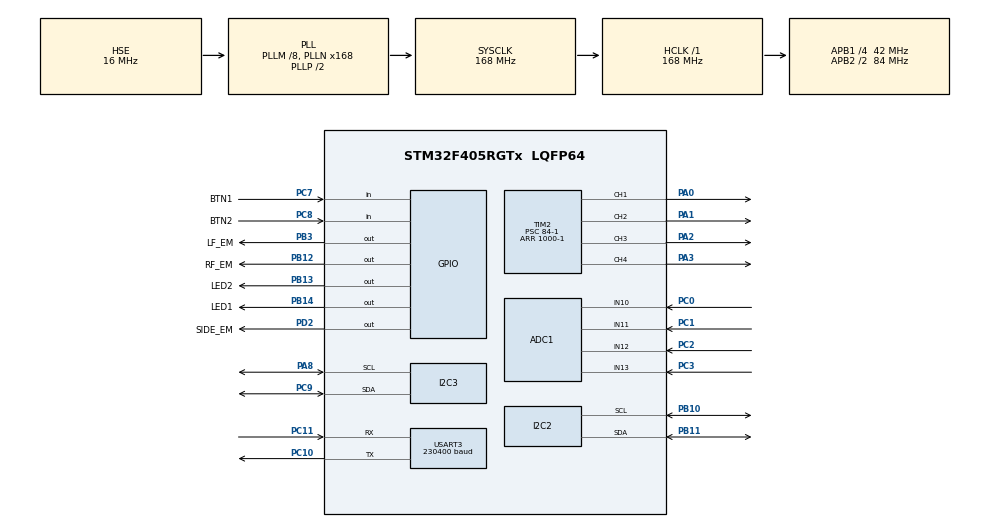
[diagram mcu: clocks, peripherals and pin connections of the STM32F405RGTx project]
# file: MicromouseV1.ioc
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ADC1.Channel-0\#ChannelRegularConversion=ADC_CHANNEL_10
ADC1.Channel-1\#ChannelRegularConversion=ADC_CHANNEL_11
ADC1.Channel-2\#ChannelRegularConversion=ADC_CHANNEL_12
ADC1.Channel-3\#ChannelRegularConversion=ADC_CHANNEL_13
ADC1.ContinuousConvMode=ENABLE
ADC1.DMAContinuousRequests=ENABLE
ADC1.NbrOfConversion=4
ADC1.NbrOfConversionFlag=1
ADC1.Rank-0\#ChannelRegularConversion=1
ADC1.Rank-1\#ChannelRegularConversion=2
ADC1.Rank-2\#ChannelRegularConversion=3
ADC1.Rank-3\#ChannelRegularConversion=4
ADC1.SamplingTime-0\#ChannelRegularConversion=ADC_SAMPLETIME_84CYCLES
ADC1.SamplingTime-1\#ChannelRegularConversion=ADC_SAMPLETIME_84CYCLES
ADC1.SamplingTime-2\#ChannelRegularConversion=ADC_SAMPLETIME_84CYCLES
ADC1.SamplingTime-3\#ChannelRegularConversion=ADC_SAMPLETIME_84CYCLES
ADC1.master=1
Dma.ADC1.0.Direction=DMA_PERIPH_TO_MEMORY
Dma.ADC1.0.FIFOMode=DMA_FIFOMODE_DISABLE
Dma.ADC1.0.Instance=DMA2_Stream0
Dma.ADC1.0.MemDataAlignment=DMA_MDATAALIGN_HALFWORD
Dma.ADC1.0.MemInc=DMA_MINC_ENABLE
Dma.ADC1.0.Mode=DMA_CIRCULAR
Dma.ADC1.0.PeriphDataAlignment=DMA_PDATAALIGN_HALFWORD
Dma.ADC1.0.PeriphInc=DMA_PINC_DISABLE
Dma.ADC1.0.Priority=DMA_PRIORITY_MEDIUM
Dma.Request0=ADC1
I2C2.I2C_Mode=I2C_Fast
I2C3.I2C_Mode=I2C_Fast
Mcu.Family=STM32F4
Mcu.Name=STM32F405RGTx
Mcu.Package=LQFP64
NVIC.DMA2_Stream0_IRQn=true\:0\:0\:false\:false\:true\:false\:true\:true
NVIC.I2C2_ER_IRQn=true\:0\:0\:false\:false\:true\:true\:true\:true
NVIC.I2C2_EV_IRQn=true\:0\:0\:false\:false\:true\:true\:true\:true
NVIC.I2C3_ER_IRQn=true\:0\:0\:false\:false\:true\:true\:true\:true
NVIC.I2C3_EV_IRQn=true\:0\:0\:false\:false\:true\:true\:true\:true
NVIC.PriorityGroup=NVIC_PRIORITYGROUP_4
NVIC.TIM3_IRQn=true\:0\:0\:false\:false\:true\:true\:true\:true
PA0-WKUP.Signal=S_TIM2_CH1_ETR
PA1.Signal=S_TIM2_CH2
PA13.Mode=Serial_Wire
PA13.Signal=SYS_JTMS-SWDIO
PA14.Mode=Serial_Wire
PA14.Signal=SYS_JTCK-SWCLK
PA2.Signal=S_TIM2_CH3
PA3.Signal=S_TIM2_CH4
PA8.Mode=I2C
PA8.Signal=I2C3_SCL
PB10.Mode=I2C
PB10.Signal=I2C2_SCL
PB11.Mode=I2C
PB11.Signal=I2C2_SDA
PB12.GPIO_Label=RF_EM
PB12.Signal=GPIO_Output
PB13.GPIO_Label=LED2
PB13.Signal=GPIO_Output
PB14.GPIO_Label=LED1
PB14.Signal=GPIO_Output
PB3.GPIO_Label=LF_EM
PB3.Signal=GPIO_Output
PC0.Signal=ADCx_IN10
PC1.Signal=ADCx_IN11
PC10.Mode=Asynchronous
PC10.Signal=USART3_TX
PC11.Mode=Asynchronous
PC11.Signal=USART3_RX
PC2.Signal=ADCx_IN12
PC3.Signal=ADCx_IN13
PC7.GPIO_Label=BTN1
PC7.GPIO_PuPd=GPIO_PULLDOWN
PC7.Signal=GPIO_Input
PC8.GPIO_Label=BTN2
PC8.GPIO_PuPd=GPIO_PULLDOWN
PC8.Signal=GPIO_Input
PC9.Mode=I2C
PC9.Signal=I2C3_SDA
PD2.GPIO_Label=SIDE_EM
PD2.Signal=GPIO_Output
PH0-OSC_IN.Mode=HSE-External-Oscillator
PH0-OSC_IN.Signal=RCC_OSC_IN
PH1-OSC_OUT.Mode=HSE-External-Oscillator
PH1-OSC_OUT.Signal=RCC_OSC_OUT
ProjectManager.HeapSize=0x200
ProjectManager.StackSize=0x400
ProjectManager.TargetToolchain=STM32CubeIDE
RCC.48MHZClocksFreq_Value=84000000
RCC.AHBFreq_Value=168000000
RCC.APB1CLKDivider=RCC_HCLK_DIV4
RCC.APB1Freq_Value=42000000
RCC.APB1TimFreq_Value=84000000
RCC.APB2CLKDivider=RCC_HCLK_DIV2
RCC.APB2Freq_Value=84000000
RCC.APB2TimFreq_Value=168000000
RCC.CortexFreq_Value=168000000
RCC.HCLKFreq_Value=168000000
RCC.HSE_VALUE=16000000
RCC.HSI_VALUE=16000000
RCC.LSE_VALUE=32768
RCC.PLLM=8
RCC.PLLN=168
RCC.PLLSourceVirtual=RCC_PLLSOURCE_HSE
RCC.SYSCLKFreq_VALUE=168000000
RCC.SYSCLKSource=RCC_SYSCLKSOURCE_PLLCLK
RCC.VCOOutputFreq_Value=336000000
SH.ADCx_IN10.0=ADC1_IN10,IN10
SH.ADCx_IN11.0=ADC1_IN11,IN11
SH.ADCx_IN12.0=ADC1_IN12,IN12
SH.ADCx_IN13.0=ADC1_IN13,IN13
SH.S_TIM2_CH1_ETR.0=TIM2_CH1,PWM Generation1 CH1
SH.S_TIM2_CH2.0=TIM2_CH2,PWM Generation2 CH2
SH.S_TIM2_CH3.0=TIM2_CH3,PWM Generation3 CH3
SH.S_TIM2_CH4.0=TIM2_CH4,PWM Generation4 CH4
TIM2.Channel-PWM\ Generation1\ CH1=TIM_CHANNEL_1
TIM2.Channel-PWM\ Generation2\ CH2=TIM_CHANNEL_2
TIM2.Channel-PWM\ Generation3\ CH3=TIM_CHANNEL_3
TIM2.Channel-PWM\ Generation4\ CH4=TIM_CHANNEL_4
TIM2.Period=1000-1
TIM2.Prescaler=84-1
TIM3.Period=1000-1
TIM3.Prescaler=84-1
USART3.BaudRate=230400
USART3.VirtualMode=VM_ASYNC
VP_TIM3_VS_ClockSourceINT.Mode=Internal
board=custom

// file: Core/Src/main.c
/* USER CODE BEGIN Header */
/**
 ******************************************************************************
 * @file           : main.c
 * @brief          : Main program body
 ******************************************************************************
 * @attention
 *
 * Copyright (c) 2026 STMicroelectronics.
 * All rights reserved.
 *
 * This software is licensed under terms that can be found in the LICENSE file
 * in the root directory of this software component.
 * If no LICENSE file comes with this software, it is provided AS-IS.
 *
 ******************************************************************************
 */
/* USER CODE END Header */
#include "main.h"

ADC_HandleTypeDef hadc1;
DMA_HandleTypeDef hdma_adc1;

I2C_HandleTypeDef hi2c2;
I2C_HandleTypeDef hi2c3;

TIM_HandleTypeDef htim2;
TIM_HandleTypeDef htim3;

UART_HandleTypeDef huart3;

/* USER CODE BEGIN PV */
int32_t posLeft[7001];
int32_t posRight[7001];

/* USER CODE END PV */

void SystemClock_Config(void);
static void MX_GPIO_Init(void);
static void MX_DMA_Init(void);
static void MX_ADC1_Init(void);
static void MX_I2C2_Init(void);
static void MX_I2C3_Init(void);
static void MX_TIM2_Init(void);
static void MX_TIM3_Init(void);
static void MX_USART3_UART_Init(void);

/* USER CODE BEGIN 0 */
void searchRun() {
	uint8_t action = solver();
	wall_R_Check2 = 0;
	wall_L_Check2 = 0;
	if (action == FORWARD) {
		delay_ms(50);
		resetEverything();
		distanceLeft = oneCellDistance * 2;
		move_one_cell(&hadc1, &hi2c2, &hi2c3);
	} else if (action == RIGHT) {
		if ((LFSensor < LFThreshold2) || (RFSensor < RFThreshold2))
			wall_L_Check2 = 0;
		wall_R_Check2 = 0;

		if ((LFSensor > LFThreshold2) && (RFSensor > RFThreshold2)) {
			wall_L_Check2 = 1;
			delay_ms(10);
			wall_front_adjust(&hadc1);
		}
		delay_ms(150);
		if (turnRightFlag)
			delay_ms(100);
		resetEverything();
		distanceLeft = turnDistance;
		turn_90right(&hi2c2, &hi2c3);
	} else if (action == LEFT) {
		wall_L_Check2 = 0;
		if ((LFSensor < LFThreshold2) || (RFSensor < RFThreshold2))
			wall_R_Check2 = 0;
		if ((LFSensor > LFThreshold2) && (RFSensor > RFThreshold2)) {
			wall_R_Check2 = 1;
			delay_ms(10);
			wall_front_adjust(&hadc1);
		}
		delay_ms(150);
		if (turnLeftFlag)
			delay_ms(100);
		resetEverything();
		distanceLeft = turnDistance;
		turn_90left(&hi2c2, &hi2c3);
	}

	set_mleft(0);
	set_mright(0);
}

void testRunStraigth() {
	while (!BTN1()) {
		if (BTN2()) {
			BTN2_Flag = 1;
			R_LED_ON
			;
		}
		L_LED_ON
		;
	}
	blink_led_wait();
	distanceLeft = oneCellDistance * 4 * 2;
	for (int i = 0; i < 4; i++) {
		move_one_cell(&hadc1, &hi2c2, &hi2c3);
	}
	set_mleft(0);
	set_mright(0);
}
void run() {
	mode = SEARCH;
	while (!BTN1()) {
		if (BTN2()) {
			BTN2_Flag = 1;
			R_LED_ON
			;
		}
		L_LED_ON
		;
	}
//	oneCellDistance = 32370;
	decX = mm_to_counts(900);
	blink_led_wait();
	start(&hadc1);
	L_LED_ON
	;
	delay_ms(1200);
	L_LED_OFF
	;
	readyFlag = 1;
	L_LED_ON
	;

	while (readyFlag > 0 && !BTN2_Flag) {
		searchRun();
	}
	BTN2_Flag = 0;
	L_LED_OFF
	;
	R_LED_OFF
	;
	set_mleft(0);
	set_mright(0);

	while (!BTN1()) {
		if (BTN2()) {
			BTN2_Flag = 1;
			R_LED_ON
			;
		}
		L_LED_ON
		;
	}
	blink_led_wait();
	R_LED_OFF
	;
	heading = NORTH;
	mode = SPEED;
	updateDistances();
	buildPath();
	uint16_t pathNow = 0;
	uint16_t oldPath = 0;
	position.x = 0;
	position.y = 0;
//	oneCellDistance = 32100;

	//	distanceLeft = 5395;
	//	move_one_cell(&hadc1, &hi2c2, &hi2c3);
	resetEverything();
	while (pathNow < pathLength && !BTN2_Flag) {
		if (path[pathNow] == FORWARD) {
			oldPath = pathNow;
			resetEverything();
			while (path[pathNow] == FORWARD) {
				pathNow++;
			}
			distanceLeft = oneCellDistance * (pathNow - oldPath) * 2;
//			if (distanceLeft > oneCellDistance * 4) {
//				decX = mm_to_counts(350);
//			} else
//				decX = mm_to_counts(600);
			for (int i = oldPath; i < pathNow; i++)
				move_one_cell(&hadc1, &hi2c2, &hi2c3);
			set_mleft(0);
			set_mright(0);
		} else if (path[pathNow] == RIGHT) {
			if ((LFSensor > LFThreshold2) && (RFSensor > RFThreshold2)) {
				delay_ms(50);
				wall_front_adjust(&hadc1);
			}
			delay_ms(150);
			if (turnRightFlag)
				delay_ms(100);
			resetEverything();
			distanceLeft = turnDistance;
			turn_90right(&hi2c2, &hi2c3);
			pathNow++;
		} else if (path[pathNow] == LEFT) {
			if ((LFSensor > LFThreshold2) && (RFSensor > RFThreshold2)) {
				wall_R_Check2 = 1;
				delay_ms(50);
				wall_front_adjust(&hadc1);
			}
			delay_ms(150);
			if (turnLeftFlag)
				delay_ms(100);
			resetEverything();
			distanceLeft = turnDistance;
			turn_90left(&hi2c2, &hi2c3);
			pathNow++;
		}
	}
	BTN2_Flag = 0;
}

int _write(int fd, char *ptr, int len) {
	HAL_StatusTypeDef hstatus;

	if (fd == 1 || fd == 2) {
		hstatus = HAL_UART_Transmit(&huart3, (uint8_t*) ptr, len,
		HAL_MAX_DELAY);
		if (hstatus == HAL_OK)
			return len;
		else
			return -1;
	}
	return -1;
}
void init(void) {
	L_LED_OFF
	;
	R_LED_OFF
	;
	HAL_TIM_Base_Start_IT(&htim3);
	HAL_TIM_PWM_Start(&htim2, TIM_CHANNEL_1);
	HAL_TIM_PWM_Start(&htim2, TIM_CHANNEL_2);
	HAL_TIM_PWM_Start(&htim2, TIM_CHANNEL_3);
	HAL_TIM_PWM_Start(&htim2, TIM_CHANNEL_4);
	init_sensor(&hadc1);
	initController();
	init_encoder(&hi2c2, &hi2c3);
	initialize();
}

void take_data() {
	controlFlag = 1;
	int pwm = 250;
	tick = 0;
	for (int i = 0; i < 3; i++) {
		set_mleft(0);
		set_mright(0);
		delay_ms(1000);
		set_mright(pwm);
		set_mleft(pwm);
		delay_ms(1000);
		pwm += 50;
	}
	controlFlag = 0;
	pwm = 0;
	int stand = 0;
	for(int i = 0; i < 6000; i ++)
	{
		if (i - stand <= 1000)
			printf("%d   %ld   %ld   %d\n ", i + 1, posLeft[i], posRight[i], 0);
		else if (i - stand <= 2000) {
			printf("%d   %ld   %ld   %d\n ", i + 1, posLeft[i], posRight[i], pwm);
			if (i - stand == 2000)
				pwm += 100;
		}

		delay_ms(1);
//		printf("Hello\n");
	}
}

/* USER CODE END 0 */

int main(void) {

	/* MCU Configuration--------------------------------------------------------*/

	/* Reset of all peripherals, Initializes the Flash interface and the Systick. */
	HAL_Init();

	/* Configure the system clock */
	SystemClock_Config();

	/* Initialize all configured peripherals */
	MX_GPIO_Init();
	MX_DMA_Init();
	MX_ADC1_Init();
	MX_I2C2_Init();
	MX_I2C3_Init();
	MX_TIM2_Init();
	MX_TIM3_Init();
	MX_USART3_UART_Init();
	/* USER CODE BEGIN 2 */
	resetEverything();
	init();
	L_LED_ON;
//	start(&hadc1);
//	blink_led_wait();
//	stopSpeedX = mm_to_counts(400);
//	distanceLeft = oneCellDistance * 2 * 1;
//	move_one_cell(&hadc1, &hi2c2, &hi2c3);
////	move_one_cell(&hadc1, &hi2c2, &hi2c3);
////	move_one_cell(&hadc1, &hi2c2, &hi2c3);
////	move_one_cell(&hadc1, &hi2c2, &hi2c3);
//	L_LED_OFF;
//	turn_right(&hi2c2, &hi2c3);
//	stopSpeedX = 0;
////	distanceLeft = oneCellDistance * 2 * 1;
////	move_one_cell(&hadc1, &hi2c2, &hi2c3);
//	turn_left(&hi2c2, &hi2c3);
//	turn_right(&hi2c2, &hi2c3);
//	turn_right(&hi2c2, &hi2c3);
//	turn_left(&hi2c2, &hi2c3);
//	distanceLeft = oneCellDistance * 2 * 1;
//	move_one_cell(&hadc1, &hi2c2, &hi2c3);
//	turn_right(&hi2c2, &hi2c3);
//	distanceLeft = oneCellDistance * 2 * 1;
//	move_one_cell(&hadc1, &hi2c2, &hi2c3);
//	turn_right(&hi2c2, &hi2c3);
	set_mleft(0);
	set_mright(0);
//	for(int i = 0; i < tick; i++)
//		printf("%lf   %lf  \n", debug1[i], debug2[i]);
//	blink_led_wait();
	/* USER CODE END 2 */

	/* Infinite loop */
	/* USER CODE BEGIN WHILE */

	while (1) {
//		run();
//		printf("%lf   %lf  \n", LFSensor, RFSensor);
//		delay_ms(10);

		/* USER CODE END WHILE */

	}
}

void SystemClock_Config(void) {
	RCC_OscInitTypeDef RCC_OscInitStruct = { 0 };
	RCC_ClkInitTypeDef RCC_ClkInitStruct = { 0 };

	/** Configure the main internal regulator output voltage
	 */
	__HAL_RCC_PWR_CLK_ENABLE();
	__HAL_PWR_VOLTAGESCALING_CONFIG(PWR_REGULATOR_VOLTAGE_SCALE1);

	/** Initializes the RCC Oscillators according to the specified parameters
	 * in the RCC_OscInitTypeDef structure.
	 */
	RCC_OscInitStruct.OscillatorType = RCC_OSCILLATORTYPE_HSE;
	RCC_OscInitStruct.HSEState = RCC_HSE_ON;
	RCC_OscInitStruct.PLL.PLLState = RCC_PLL_ON;
	RCC_OscInitStruct.PLL.PLLSource = RCC_PLLSOURCE_HSE;
	RCC_OscInitStruct.PLL.PLLM = 8;
	RCC_OscInitStruct.PLL.PLLN = 168;
	RCC_OscInitStruct.PLL.PLLP = RCC_PLLP_DIV2;
	RCC_OscInitStruct.PLL.PLLQ = 4;
	if (HAL_RCC_OscConfig(&RCC_OscInitStruct) != HAL_OK) {
		Error_Handler();
	}

	/** Initializes the CPU, AHB and APB buses clocks
	 */
	RCC_ClkInitStruct.ClockType = RCC_CLOCKTYPE_HCLK | RCC_CLOCKTYPE_SYSCLK
			| RCC_CLOCKTYPE_PCLK1 | RCC_CLOCKTYPE_PCLK2;
	RCC_ClkInitStruct.SYSCLKSource = RCC_SYSCLKSOURCE_PLLCLK;
	RCC_ClkInitStruct.AHBCLKDivider = RCC_SYSCLK_DIV1;
	RCC_ClkInitStruct.APB1CLKDivider = RCC_HCLK_DIV4;
	RCC_ClkInitStruct.APB2CLKDivider = RCC_HCLK_DIV2;

	if (HAL_RCC_ClockConfig(&RCC_ClkInitStruct, FLASH_LATENCY_5) != HAL_OK) {
		Error_Handler();
	}
}

static void MX_ADC1_Init(void) {

	ADC_ChannelConfTypeDef sConfig = { 0 };

	/** Configure the global features of the ADC (Clock, Resolution, Data Alignment and number of conversion)
	 */
	hadc1.Instance = ADC1;
	hadc1.Init.ClockPrescaler = ADC_CLOCK_SYNC_PCLK_DIV4;
	hadc1.Init.Resolution = ADC_RESOLUTION_12B;
	hadc1.Init.ScanConvMode = ENABLE;
	hadc1.Init.ContinuousConvMode = ENABLE;
	hadc1.Init.DiscontinuousConvMode = DISABLE;
	hadc1.Init.ExternalTrigConvEdge = ADC_EXTERNALTRIGCONVEDGE_NONE;
	hadc1.Init.ExternalTrigConv = ADC_SOFTWARE_START;
	hadc1.Init.DataAlign = ADC_DATAALIGN_RIGHT;
	hadc1.Init.NbrOfConversion = 4;
	hadc1.Init.DMAContinuousRequests = ENABLE;
	hadc1.Init.EOCSelection = ADC_EOC_SINGLE_CONV;
	if (HAL_ADC_Init(&hadc1) != HAL_OK) {
		Error_Handler();
	}

	/** Configure for the selected ADC regular channel its corresponding rank in the sequencer and its sample time.
	 */
	sConfig.Channel = ADC_CHANNEL_10;
	sConfig.Rank = 1;
	sConfig.SamplingTime = ADC_SAMPLETIME_84CYCLES;
	if (HAL_ADC_ConfigChannel(&hadc1, &sConfig) != HAL_OK) {
		Error_Handler();
	}

	/** Configure for the selected ADC regular channel its corresponding rank in the sequencer and its sample time.
	 */
	sConfig.Channel = ADC_CHANNEL_11;
	sConfig.Rank = 2;
	if (HAL_ADC_ConfigChannel(&hadc1, &sConfig) != HAL_OK) {
		Error_Handler();
	}

	/** Configure for the selected ADC regular channel its corresponding rank in the sequencer and its sample time.
	 */
	sConfig.Channel = ADC_CHANNEL_12;
	sConfig.Rank = 3;
	if (HAL_ADC_ConfigChannel(&hadc1, &sConfig) != HAL_OK) {
		Error_Handler();
	}

	/** Configure for the selected ADC regular channel its corresponding rank in the sequencer and its sample time.
	 */
	sConfig.Channel = ADC_CHANNEL_13;
	sConfig.Rank = 4;
	if (HAL_ADC_ConfigChannel(&hadc1, &sConfig) != HAL_OK) {
		Error_Handler();
	}

}

static void MX_I2C2_Init(void) {

	hi2c2.Instance = I2C2;
	hi2c2.Init.ClockSpeed = 400000;
	hi2c2.Init.DutyCycle = I2C_DUTYCYCLE_2;
	hi2c2.Init.OwnAddress1 = 0;
	hi2c2.Init.AddressingMode = I2C_ADDRESSINGMODE_7BIT;
	hi2c2.Init.DualAddressMode = I2C_DUALADDRESS_DISABLE;
	hi2c2.Init.OwnAddress2 = 0;
	hi2c2.Init.GeneralCallMode = I2C_GENERALCALL_DISABLE;
	hi2c2.Init.NoStretchMode = I2C_NOSTRETCH_DISABLE;
	if (HAL_I2C_Init(&hi2c2) != HAL_OK) {
		Error_Handler();
	}

}

static void MX_I2C3_Init(void) {

	hi2c3.Instance = I2C3;
	hi2c3.Init.ClockSpeed = 400000;
	hi2c3.Init.DutyCycle = I2C_DUTYCYCLE_2;
	hi2c3.Init.OwnAddress1 = 0;
	hi2c3.Init.AddressingMode = I2C_ADDRESSINGMODE_7BIT;
	hi2c3.Init.DualAddressMode = I2C_DUALADDRESS_DISABLE;
	hi2c3.Init.OwnAddress2 = 0;
	hi2c3.Init.GeneralCallMode = I2C_GENERALCALL_DISABLE;
	hi2c3.Init.NoStretchMode = I2C_NOSTRETCH_DISABLE;
	if (HAL_I2C_Init(&hi2c3) != HAL_OK) {
		Error_Handler();
	}

}

static void MX_TIM2_Init(void) {

	TIM_MasterConfigTypeDef sMasterConfig = { 0 };
	TIM_OC_InitTypeDef sConfigOC = { 0 };

	htim2.Instance = TIM2;
	htim2.Init.Prescaler = 84 - 1;
	htim2.Init.CounterMode = TIM_COUNTERMODE_UP;
	htim2.Init.Period = 1000 - 1;
	htim2.Init.ClockDivision = TIM_CLOCKDIVISION_DIV1;
	htim2.Init.AutoReloadPreload = TIM_AUTORELOAD_PRELOAD_DISABLE;
	if (HAL_TIM_PWM_Init(&htim2) != HAL_OK) {
		Error_Handler();
	}
	sMasterConfig.MasterOutputTrigger = TIM_TRGO_RESET;
	sMasterConfig.MasterSlaveMode = TIM_MASTERSLAVEMODE_DISABLE;
	if (HAL_TIMEx_MasterConfigSynchronization(&htim2, &sMasterConfig)
			!= HAL_OK) {
		Error_Handler();
	}
	sConfigOC.OCMode = TIM_OCMODE_PWM1;
	sConfigOC.Pulse = 0;
	sConfigOC.OCPolarity = TIM_OCPOLARITY_HIGH;
	sConfigOC.OCFastMode = TIM_OCFAST_DISABLE;
	if (HAL_TIM_PWM_ConfigChannel(&htim2, &sConfigOC, TIM_CHANNEL_1)
			!= HAL_OK) {
		Error_Handler();
	}
	if (HAL_TIM_PWM_ConfigChannel(&htim2, &sConfigOC, TIM_CHANNEL_2)
			!= HAL_OK) {
		Error_Handler();
	}
	if (HAL_TIM_PWM_ConfigChannel(&htim2, &sConfigOC, TIM_CHANNEL_3)
			!= HAL_OK) {
		Error_Handler();
	}
	if (HAL_TIM_PWM_ConfigChannel(&htim2, &sConfigOC, TIM_CHANNEL_4)
			!= HAL_OK) {
		Error_Handler();
	}
	HAL_TIM_MspPostInit(&htim2);

}

static void MX_TIM3_Init(void) {

	TIM_ClockConfigTypeDef sClockSourceConfig = { 0 };
	TIM_MasterConfigTypeDef sMasterConfig = { 0 };

	htim3.Instance = TIM3;
	htim3.Init.Prescaler = 84 - 1;
	htim3.Init.CounterMode = TIM_COUNTERMODE_UP;
	htim3.Init.Period = 1000 - 1;
	htim3.Init.ClockDivision = TIM_CLOCKDIVISION_DIV1;
	htim3.Init.AutoReloadPreload = TIM_AUTORELOAD_PRELOAD_DISABLE;
	if (HAL_TIM_Base_Init(&htim3) != HAL_OK) {
		Error_Handler();
	}
	sClockSourceConfig.ClockSource = TIM_CLOCKSOURCE_INTERNAL;
	if (HAL_TIM_ConfigClockSource(&htim3, &sClockSourceConfig) != HAL_OK) {
		Error_Handler();
	}
	sMasterConfig.MasterOutputTrigger = TIM_TRGO_RESET;
	sMasterConfig.MasterSlaveMode = TIM_MASTERSLAVEMODE_DISABLE;
	if (HAL_TIMEx_MasterConfigSynchronization(&htim3, &sMasterConfig)
			!= HAL_OK) {
		Error_Handler();
	}

}

static void MX_USART3_UART_Init(void) {

	huart3.Instance = USART3;
	huart3.Init.BaudRate = 230400;
	huart3.Init.WordLength = UART_WORDLENGTH_8B;
	huart3.Init.StopBits = UART_STOPBITS_1;
	huart3.Init.Parity = UART_PARITY_NONE;
	huart3.Init.Mode = UART_MODE_TX_RX;
	huart3.Init.HwFlowCtl = UART_HWCONTROL_NONE;
	huart3.Init.OverSampling = UART_OVERSAMPLING_16;
	if (HAL_UART_Init(&huart3) != HAL_OK) {
		Error_Handler();
	}

}

static void MX_DMA_Init(void) {

	/* DMA controller clock enable */
	__HAL_RCC_DMA2_CLK_ENABLE();

	/* DMA interrupt init */
	/* DMA2_Stream0_IRQn interrupt configuration */
	HAL_NVIC_SetPriority(DMA2_Stream0_IRQn, 0, 0);
	HAL_NVIC_EnableIRQ(DMA2_Stream0_IRQn);

}

static void MX_GPIO_Init(void) {
	GPIO_InitTypeDef GPIO_InitStruct = { 0 };

	/* GPIO Ports Clock Enable */
	__HAL_RCC_GPIOH_CLK_ENABLE();
	__HAL_RCC_GPIOC_CLK_ENABLE();
	__HAL_RCC_GPIOA_CLK_ENABLE();
	__HAL_RCC_GPIOB_CLK_ENABLE();
	__HAL_RCC_GPIOD_CLK_ENABLE();

	/*Configure GPIO pin Output Level */
	HAL_GPIO_WritePin(GPIOB, RF_EM_Pin | LED2_Pin | LED1_Pin | LF_EM_Pin,
			GPIO_PIN_RESET);

	/*Configure GPIO pin Output Level */
	HAL_GPIO_WritePin(SIDE_EM_GPIO_Port, SIDE_EM_Pin, GPIO_PIN_RESET);

	/*Configure GPIO pins : RF_EM_Pin LED2_Pin LED1_Pin LF_EM_Pin */
	GPIO_InitStruct.Pin = RF_EM_Pin | LED2_Pin | LED1_Pin | LF_EM_Pin;
	GPIO_InitStruct.Mode = GPIO_MODE_OUTPUT_PP;
	GPIO_InitStruct.Pull = GPIO_NOPULL;
	GPIO_InitStruct.Speed = GPIO_SPEED_FREQ_LOW;
	HAL_GPIO_Init(GPIOB, &GPIO_InitStruct);

	/*Configure GPIO pins : BTN1_Pin BTN2_Pin */
	GPIO_InitStruct.Pin = BTN1_Pin | BTN2_Pin;
	GPIO_InitStruct.Mode = GPIO_MODE_INPUT;
	GPIO_InitStruct.Pull = GPIO_PULLDOWN;
	HAL_GPIO_Init(GPIOC, &GPIO_InitStruct);

	/*Configure GPIO pin : SIDE_EM_Pin */
	GPIO_InitStruct.Pin = SIDE_EM_Pin;
	GPIO_InitStruct.Mode = GPIO_MODE_OUTPUT_PP;
	GPIO_InitStruct.Pull = GPIO_NOPULL;
	GPIO_InitStruct.Speed = GPIO_SPEED_FREQ_LOW;
	HAL_GPIO_Init(SIDE_EM_GPIO_Port, &GPIO_InitStruct);

}

/* USER CODE BEGIN 4 */
void HAL_I2C_ErrorCallback(I2C_HandleTypeDef *hi2c) {
	if (hi2c->Instance == I2C3)
		i2c_busy_left = 0;
	if (hi2c->Instance == I2C2)
		i2c_busy_right = 0;
}
void HAL_I2C_MemRxCpltCallback(I2C_HandleTypeDef *hi2c) {
	if (hi2c->Instance == I2C3) {
		encoder_left = (encoder_raw_left[0] << 8) | encoder_raw_left[1];
		encoder_left = encoder_left >> 2;
		encoderChangeLeft = encoder_left - old_enc_cnt_left;
		if (encoderChangeLeft > 8192)
			encoderChangeLeft -= 16384;
		else if (encoderChangeLeft < -8192)
			encoderChangeLeft += 16384;
		old_enc_cnt_left = encoder_left;
		enc_cnt_left += encoderChangeLeft;
		i2c_busy_left = 0;

	} else if (hi2c->Instance == I2C2) {
		encoder_right = (encoder_raw_right[0] << 8) | encoder_raw_right[1];
		encoder_right = encoder_right >> 2;
		encoderChangeRight = (int16_t) (old_enc_cnt_right - encoder_right);
		if (encoderChangeRight > 8192)
			encoderChangeRight -= 16384;
		else if (encoderChangeRight < -8192)
			encoderChangeRight += 16384;
		old_enc_cnt_right = encoder_right;
		enc_cnt_right += encoderChangeRight;
		i2c_busy_right = 0;
	}
}
void HAL_TIM_PeriodElapsedCallback(TIM_HandleTypeDef *htim) {
	if (htim->Instance == TIM3) {
		read_enc(&hi2c2, &hi2c3);
		read_sensor(&hadc1);
		controlFlag = 1;

	}

}
/* USER CODE END 4 */

void Error_Handler(void) {
	__disable_irq();
	while (1) {
	}
}
